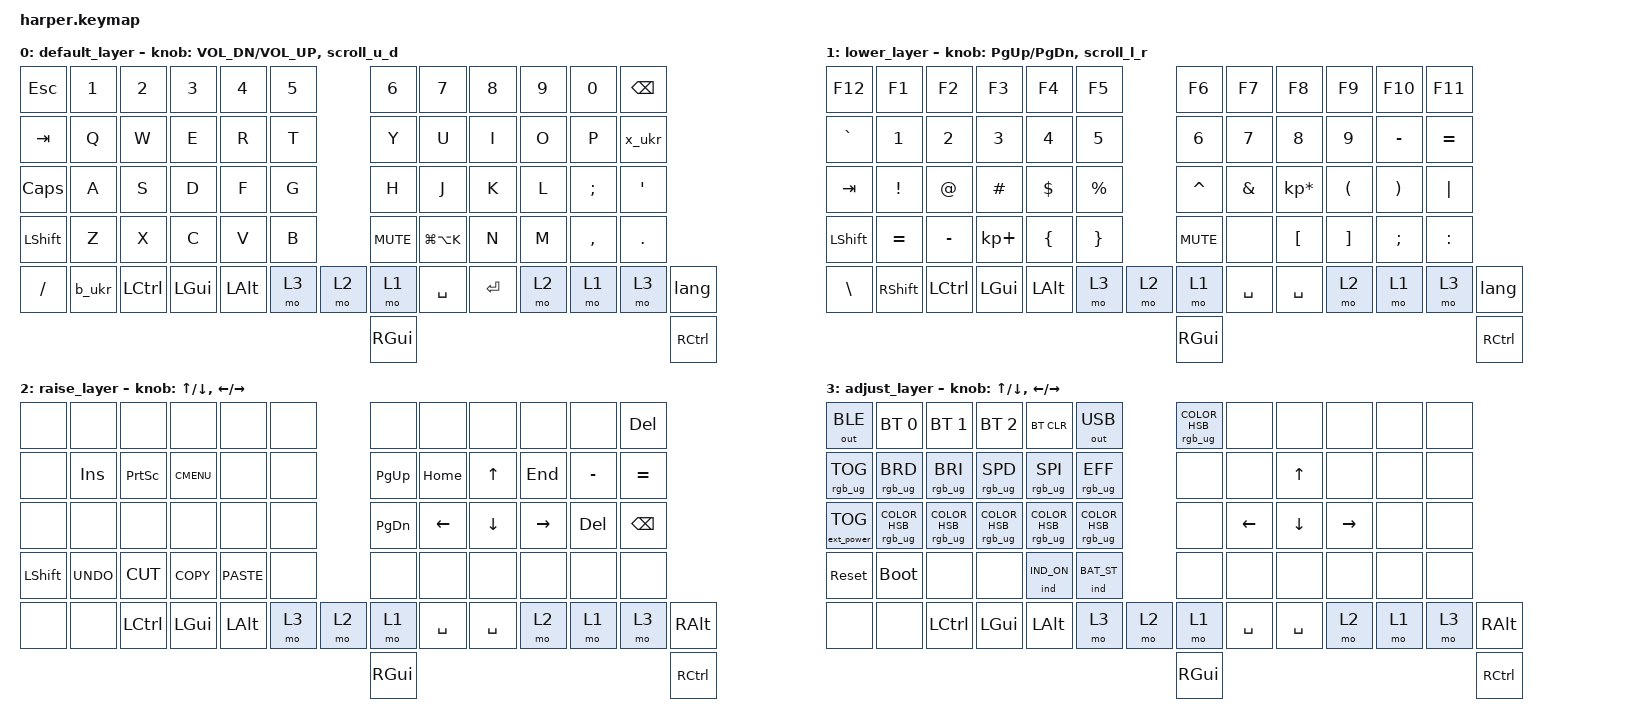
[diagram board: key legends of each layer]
#undef ZMK_BEHAVIORS_KEEP_ALL

#define ZMK_BEHAVIORS_KEEP_IND
#define ZMK_BEHAVIORS_KEEP_BT
#define ZMK_BEHAVIORS_KEEP_GRESC
#define ZMK_BEHAVIORS_KEEP_SYS_RESET
#define ZMK_BEHAVIORS_KEEP_BOOTLOADER
#define ZMK_BEHAVIORS_KEEP_CAPS_WORD
#define ZMK_BEHAVIORS_KEEP_KEY_REPEAT
#define ZMK_BEHAVIORS_KEEP_KT
#define ZMK_BEHAVIORS_KEEP_LT
#define ZMK_BEHAVIORS_KEEP_MT
#define ZMK_BEHAVIORS_KEEP_SK
#define ZMK_BEHAVIORS_KEEP_STICKY_LAYER
#define ZMK_BEHAVIORS_KEEP_TO
#define ZMK_BEHAVIORS_KEEP_TOG
#define ZMK_BEHAVIORS_KEEP_TRANS

#include <dt-bindings/zmk/indicators.h>
#include <behaviors.dtsi>
#include <dt-bindings/zmk/bt.h>
#include <dt-bindings/zmk/ext_power.h>
#include <dt-bindings/zmk/keys.h>
#include <dt-bindings/zmk/outputs.h>
#include <dt-bindings/zmk/rgb.h>

#define DEF 0
#define LWR 1
#define RSE 2
#define ADJ 3

&lt { quick_tap_ms = <200>; };

&mt { quick_tap_ms = <200>; };

/ {
    macros {
        x_ukr: x_ukr {
            compatible = "zmk,behavior-macro";
            #binding-cells = <0>;
            bindings = <&kp CAPS &kp LEFT_BRACE &kp CAPS>;
            label = "X_UKR";
        };

        b_ukr: b_ukr {
            compatible = "zmk,behavior-macro";
            #binding-cells = <0>;
            bindings = <&kp CAPS &kp RIGHT_BRACE &kp CAPS>;
            label = "B_UKR";
        };

        lang: lang {
            compatible = "zmk,behavior-macro";
            #binding-cells = <0>;
            bindings = <&kp LS(LEFT_CONTROL)>;
            label = "LANG";
        };
    };

    combos { compatible = "zmk,combos"; };

    keymap {
        compatible = "zmk,keymap";

        default_layer {
            bindings = <
&kp ESC    &kp N1  &kp N2     &kp N3    &kp N4    &kp N5         &kp N6      &kp N7         &kp N8     &kp N9  &kp N0     &kp BACKSPACE
&kp TAB    &kp Q   &kp W      &kp E     &kp R     &kp T          &kp Y       &kp U          &kp I      &kp O   &kp P      &x_ukr
&kp CAPS   &kp A   &kp S      &kp D     &kp F     &kp G          &kp H       &kp J          &kp K      &kp L   &kp SEMI   &kp SQT
&kp LSHFT  &kp Z   &kp X      &kp C     &kp V     &kp B          &kp C_MUTE  &kp LG(LA(K))  &kp N      &kp M   &kp COMMA  &kp DOT
&kp FSLH   &b_ukr  &kp LCTRL  &kp LGUI  &kp LALT  &mo 3   &mo 2  &mo 1       &kp SPACE      &kp ENTER  &mo 2   &mo 1      &mo 3          &lang
                                                                 &kp RGUI                                                                &kp RCTRL
            >;

            sensor-bindings = <&inc_dec_kp C_VOL_DN C_VOL_UP &scroll_u_d>;
        };

        lower_layer {
            bindings = <
&kp F12    &kp F1     &kp F2     &kp F3       &kp F4    &kp F5            &kp F6      &kp F7     &kp F8           &kp F9    &kp F10    &kp F11
&kp GRAVE  &kp N1     &kp N2     &kp N3       &kp N4    &kp N5            &kp N6      &kp N7     &kp N8           &kp N9    &kp MINUS  &kp EQUAL
&kp TAB    &kp EXCL   &kp AT     &kp HASH     &kp DLLR  &kp PRCNT         &kp CARET   &kp AMPS   &kp KP_MULTIPLY  &kp LPAR  &kp RPAR   &kp PIPE
&kp LSHFT  &kp EQUAL  &kp MINUS  &kp KP_PLUS  &kp LBRC  &kp RBRC          &kp C_MUTE  &none      &kp LBKT         &kp RBKT  &kp SEMI   &kp COLON
&kp BSLH   &kp RSHFT  &kp LCTRL  &kp LGUI     &kp LALT  &mo 3      &mo 2  &mo 1       &kp SPACE  &kp SPACE        &mo 2     &mo 1      &mo 3      &lang
                                                                          &kp RGUI                                                                &kp RCTRL
            >;

            sensor-bindings = <&inc_dec_kp PG_UP PG_DN &scroll_l_r>;
        };

        raise_layer {
            bindings = <
&none       &none       &none      &none        &none        &none         &none      &none      &none      &none      &none      &kp DEL
&none       &kp INS     &kp PSCRN  &kp K_CMENU  &none        &none         &kp PG_UP  &kp HOME   &kp UP     &kp END    &kp MINUS  &kp EQUAL
&none       &none       &none      &none        &none        &none         &kp PG_DN  &kp LEFT   &kp DOWN   &kp RIGHT  &kp DEL    &kp BSPC
&kp LSHIFT  &kp K_UNDO  &kp K_CUT  &kp K_COPY   &kp K_PASTE  &none         &none      &none      &none      &none      &none      &none
&none       &none       &kp LCTRL  &kp LGUI     &kp LALT     &mo 3  &mo 2  &mo 1      &kp SPACE  &kp SPACE  &mo 2      &mo 1      &mo 3      &kp RALT
                                                                           &kp RGUI                                                          &kp RCTRL
            >;

            sensor-bindings = <&inc_dec_kp UP_ARROW DOWN_ARROW &inc_dec_kp LEFT_ARROW RIGHT_ARROW>;
        };

        adjust_layer {
            bindings = <
&out OUT_BLE       &bt BT_SEL 0                     &bt BT_SEL 1                       &bt BT_SEL 2                      &bt BT_CLR                       &out OUT_USB                             &rgb_ug RGB_COLOR_HSB(177,88,50)  &none      &none      &none      &none  &none
&rgb_ug RGB_TOG    &rgb_ug RGB_BRD                  &rgb_ug RGB_BRI                    &rgb_ug RGB_SPD                   &rgb_ug RGB_SPI                  &rgb_ug RGB_EFF                          &none                             &none      &kp UP     &none      &none  &none
&ext_power EP_TOG  &rgb_ug RGB_COLOR_HSB(0,100,50)  &rgb_ug RGB_COLOR_HSB(218,100,50)  &rgb_ug RGB_COLOR_HSB(120,97,50)  &rgb_ug RGB_COLOR_HSB(60,0,100)  &rgb_ug RGB_COLOR_HSB(64,100,52)         &none                             &kp LEFT   &kp DOWN   &kp RIGHT  &none  &none
&sys_reset         &bootloader                      &none                              &none                             &ind IND_ON                      &ind BAT_ST                              &none                             &none      &none      &none      &none  &none
&none              &none                            &kp LCTRL                          &kp LGUI                          &kp LALT                         &mo 3                             &mo 2  &mo 1                             &kp SPACE  &kp SPACE  &mo 2      &mo 1  &mo 3  &kp RALT
                                                                                                                                                                                                   &kp RGUI                                                                         &kp RCTRL
            >;

            sensor-bindings = <&inc_dec_kp UP_ARROW DOWN_ARROW &inc_dec_kp LEFT_ARROW RIGHT_ARROW>;
        };
    };
};
